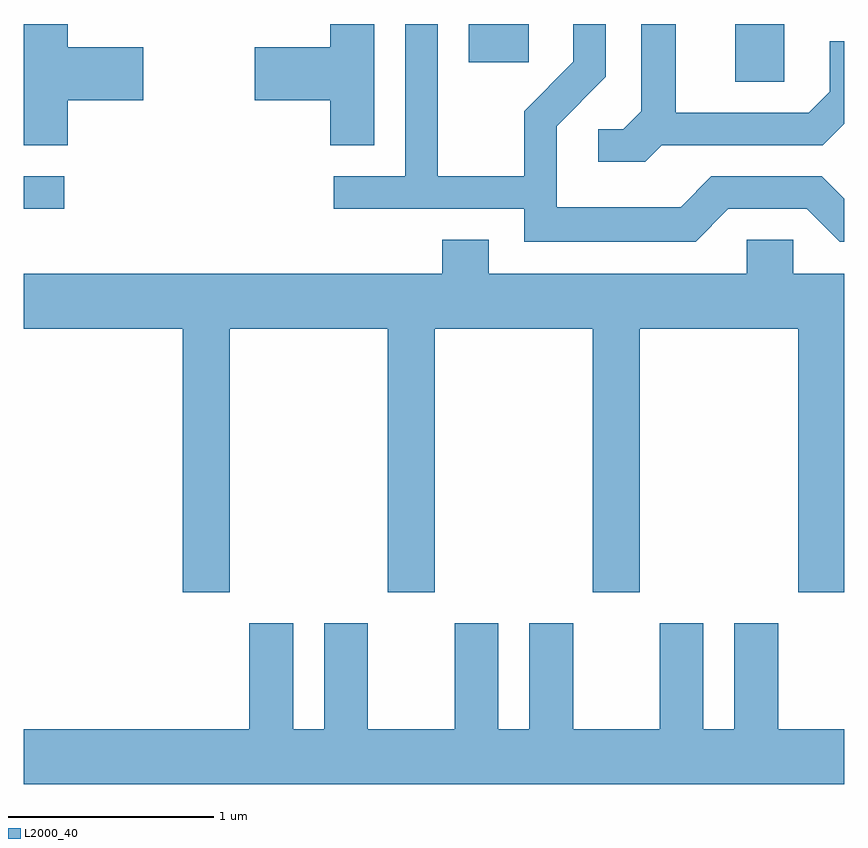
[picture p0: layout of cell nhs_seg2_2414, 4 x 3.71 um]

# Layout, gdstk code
import gdstk
lib = gdstk.Library(unit=1e-6, precision=1e-09)
def R(c, l, rs):  # rectangles x0, y0, x1, y1
    for r in rs: c.add(gdstk.rectangle(r[:2], r[2:], *l))
def P(c, l, *ps):  # polygons
    for p in ps: c.add(gdstk.Polygon(p, *l))
L2000_40 = (2000, 40)

nhs_seg2_2414 = lib.new_cell('nhs_seg2_2414')
R(nhs_seg2_2414, L2000_40, [(255.611,1048.901,255.808,1049.059), (259.081,1049.521,259.319,1049.802), (257.781,1049.616,258.074,1049.802)])
P(nhs_seg2_2414, L2000_40, [(258.722,1049.211),(259.507,1049.211),(259.611,1049.316),(259.611,1049.718),(259.541,1049.718),(259.541,1049.472),(259.439,1049.369),(258.789,1049.369),(258.789,1049.802),(258.621,1049.802),(258.621,1049.377),(258.534,1049.289),(258.413,1049.289),(258.413,1049.131),(258.642,1049.131)],
  [(259.046,1048.901),(259.429,1048.901),(259.589,1048.741),(259.611,1048.741),(259.611,1048.95),(259.502,1049.059),(258.964,1049.059),(258.814,1048.909),(258.209,1048.909),(258.209,1049.304),(258.449,1049.544),(258.449,1049.802),(258.291,1049.802),(258.291,1049.617),(258.051,1049.377),(258.051,1049.059),(257.629,1049.059),(257.629,1049.802),(257.471,1049.802),(257.471,1049.059),(257.123,1049.059),(257.123,1048.901),(258.051,1048.901),(258.051,1048.741),(258.887,1048.741)],
  [(257.319,1049.802),(257.106,1049.802),(257.106,1049.689),(256.736,1049.689),(256.736,1049.431),(257.106,1049.431),(257.106,1049.211),(257.319,1049.211)],
  [(255.824,1049.431),(256.194,1049.431),(256.194,1049.689),(255.824,1049.689),(255.824,1049.802),(255.611,1049.802),(255.611,1049.211),(255.824,1049.211)],
  [(256.614,1048.316),(257.386,1048.316),(257.386,1047.031),(257.614,1047.031),(257.614,1048.316),(258.386,1048.316),(258.386,1047.031),(258.614,1047.031),(258.614,1048.316),(259.386,1048.316),(259.386,1047.031),(259.611,1047.031),(259.611,1048.584),(259.364,1048.584),(259.364,1048.749),(259.136,1048.749),(259.136,1048.584),(257.879,1048.584),(257.879,1048.749),(257.651,1048.749),(257.651,1048.584),(255.611,1048.584),(255.611,1048.316),(256.386,1048.316),(256.386,1047.031),(256.614,1047.031)],
  [(259.611,1046.364),(259.289,1046.364),(259.289,1046.879),(259.076,1046.879),(259.076,1046.364),(258.924,1046.364),(258.924,1046.879),(258.711,1046.879),(258.711,1046.364),(258.289,1046.364),(258.289,1046.879),(258.076,1046.879),(258.076,1046.364),(257.924,1046.364),(257.924,1046.879),(257.711,1046.879),(257.711,1046.364),(257.289,1046.364),(257.289,1046.879),(257.076,1046.879),(257.076,1046.364),(256.924,1046.364),(256.924,1046.879),(256.711,1046.879),(256.711,1046.364),(255.611,1046.364),(255.611,1046.096),(259.611,1046.096)])

lib.write_gds('nhs_seg2_2414.gds')
